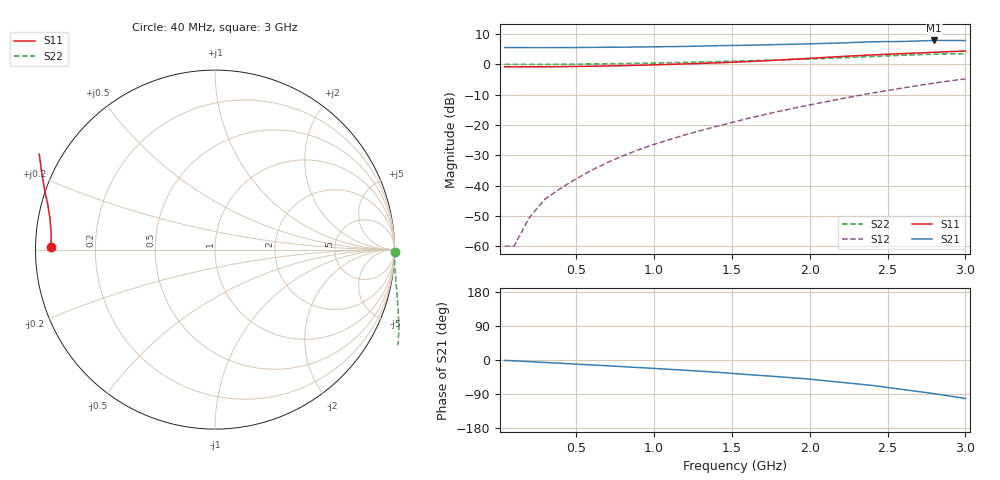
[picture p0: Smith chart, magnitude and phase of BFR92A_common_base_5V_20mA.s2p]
! Filename:  BFR92ACE.S2P  Version:  2.0
! Philips part #: BFR92A  Date: Jul 1990
! Bias condition: Vce=5V, Ic=20mA
! COMMON BASE
#  MHz  S  MA  R  50
! Freq  S11  S21  S12  S22
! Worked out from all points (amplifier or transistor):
!   21 points, 40 MHz to 3 GHz, reference 50 ohm
!   highest |S21| = 7.9 dB at 2.8 GHz (marker M1)
!   |S21| within 3 dB of that: start of sweep to end of sweep
!   unconditionally stable (mu >= 1): nowhere
!   at 300 MHz: K = -0.63, MSG = 25.0 dB, |S12| = -44.4 dB
!   at 1 GHz: K = -0.95, MSG = 16.1 dB, |S12| = -26.4 dB
!   at 3 GHz: K = -0.89, MSG = 6.3 dB, |S12| = -4.7 dB
40  0.915 179.2  1.901 -1.0  0.001 60.5  1.002 -0.7
100  0.914 178.1  1.899 -2.1  0.001 83.5  1.004 -1.4
200  0.915 176.3  1.897 -4.4  0.003 112.4  1.003 -3.0
300  0.917 174.6  1.895 -6.5  0.006 126.5  1.003 -4.6
400  0.921 172.9  1.898 -8.6  0.009 136.6  1.008 -6.1
500  0.928 171.2  1.905 -10.9  0.013 138.5  1.014 -7.7
600  0.934 169.5  1.916 -13.0  0.018 142.8  1.02 -9.2
700  0.945 167.8  1.924 -15.2  0.024 145.6  1.027 -10.8
800  0.957 166.0  1.931 -17.6  0.031 147.0  1.036 -12.3
900  0.969 164.4  1.941 -19.9  0.039 148.2  1.046 -14.1
1000  0.986 162.7  1.958 -22.2  0.048 148.7  1.057 -15.8
1200  1.021 159.2  1.986 -27.0  0.069 149.3  1.083 -19.4
1400  1.063 155.5  2.04 -32.2  0.095 148.0  1.115 -23.2
1600  1.114 151.5  2.079 -38.4  0.128 146.9  1.15 -27.6
1800  1.183 147.4  2.131 -44.1  0.168 144.2  1.189 -32.4
2000  1.264 143.1  2.194 -50.6  0.215 141.2  1.229 -38.2
2200  1.353 138.5  2.266 -58.8  0.271 137.4  1.283 -45.1
2400  1.438 133.2  2.371 -67.0  0.337 132.6  1.35 -52.7
2600  1.512 126.3  2.399 -78.0  0.41 127.3  1.421 -61.0
2800  1.59 117.7  2.492 -88.8  0.494 120.2  1.481 -69.6
3000  1.667 108.4  2.485 -101.6  0.579 113.0  1.506 -79.3
